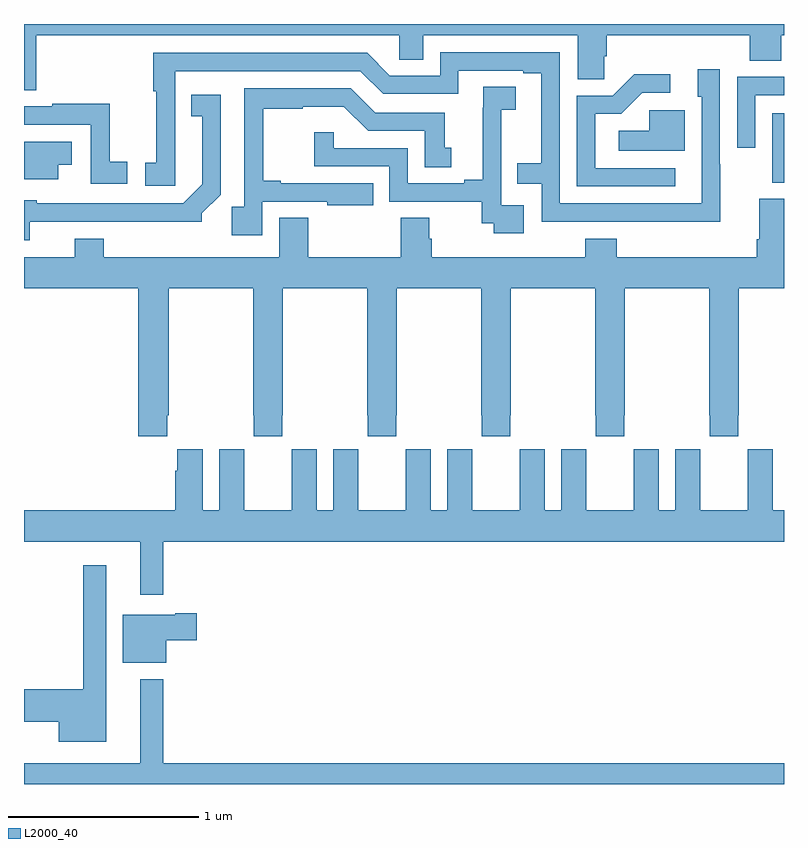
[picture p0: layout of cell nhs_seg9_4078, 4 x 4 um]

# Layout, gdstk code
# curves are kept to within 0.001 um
import gdstk
lib = gdstk.Library(unit=1e-6, precision=1e-09)
def R(c, l, rs):  # rectangles x0, y0, x1, y1
    for r in rs: c.add(gdstk.rectangle(r[:2], r[2:], *l))
def P(c, l, *ps):  # polygons
    for p in ps: c.add(gdstk.Polygon(p, *l))
L2000_40 = (2000, 40)

nhs_seg9_4078 = lib.new_cell('nhs_seg9_4078')
R(nhs_seg9_4078, L2000_40, [(348.938,1175.665,349,1176.031)])
P(nhs_seg9_4078, L2000_40, [(345.065,1176.44),(346.974,1176.44),(346.974,1176.313),(347.101,1176.313),(347.101,1176.44),(347.915,1176.44),(347.915,1176.208),(348.054,1176.208),(348.054,1176.331),(348.068,1176.331),(348.068,1176.44),(348.821,1176.44),(348.821,1176.307),(348.986,1176.307),(348.986,1176.44),(349,1176.44),(349,1176.5),(345,1176.5),(345,1176.151),(345.065,1176.151)],
  [(348.665,1175.762),(348.663,1175.762),(348.663,1176.262),(348.545,1176.262),(348.545,1176.117),(348.567,1176.117),(348.567,1175.556),(347.82,1175.556),(347.82,1176.351),(347.19,1176.351),(347.19,1176.228),(346.926,1176.228),(346.806,1176.348),(345.679,1176.348),(345.679,1176.145),(345.697,1176.145),(345.697,1175.769),(345.639,1175.769),(345.639,1175.649),(345.796,1175.649),(345.795,1176.252),(346.77,1176.252),(346.89,1176.132),(347.286,1176.132),(347.286,1176.255),(347.627,1176.255),(347.627,1176.24),(347.723,1176.24),(347.723,1175.767),(347.596,1175.767),(347.596,1175.658),(347.724,1175.658),(347.724,1175.46),(348.665,1175.459)],
  [(348.427,1175.742),(348.006,1175.742),(348.006,1176.027),(348.144,1176.027),(348.255,1176.138),(348.4,1176.138),(348.4,1176.236),(348.212,1176.236),(348.099,1176.123),(347.91,1176.123),(347.91,1175.646),(348.427,1175.646)],
  [(348.849,1176.126),(349,1176.126),(349,1176.222),(348.753,1176.222),(348.753,1175.85),(348.849,1175.85)],
  [(347.629,1175.547),(347.511,1175.547),(347.511,1175.851),(347.513,1175.851),(347.513,1176.049),(347.587,1176.049),(347.587,1176.17),(347.416,1176.17),(347.416,1176.059),(347.414,1176.059),(347.414,1175.681),(347.318,1175.681),(347.318,1175.661),(347.019,1175.661),(347.019,1175.847),(346.629,1175.847),(346.629,1175.929),(346.528,1175.929),(346.528,1175.751),(346.923,1175.751),(346.923,1175.565),(347.41,1175.565),(347.41,1175.451),(347.473,1175.451),(347.473,1175.4),(347.629,1175.4)],
  [(346.254,1175.565),(346.595,1175.565),(346.595,1175.546),(346.838,1175.546),(346.838,1175.661),(346.351,1175.661),(346.351,1175.674),(346.259,1175.674),(346.259,1176.054),(346.466,1176.054),(346.466,1176.065),(346.684,1176.065),(346.812,1175.937),(347.108,1175.937),(347.108,1175.746),(347.248,1175.746),(347.248,1175.85),(347.215,1175.85),(347.215,1176.033),(346.848,1176.033),(346.719,1176.162),(346.158,1176.162),(346.158,1175.539),(346.093,1175.539),(346.093,1175.388),(346.254,1175.388)],
  [(345.03,1175.46),(345.936,1175.459),(345.936,1175.503),(346.035,1175.602),(346.035,1176.127),(345.88,1176.127),(345.88,1176.014),(345.938,1176.014),(345.938,1175.657),(345.837,1175.556),(345.066,1175.556),(345.066,1175.572),(345,1175.572),(345,1175.361),(345.03,1175.361)],
  [(345.544,1175.774),(345.45,1175.774),(345.45,1176.079),(345.148,1176.079),(345.148,1176.066),(345,1176.066),(345,1175.97),(345.351,1175.97),(345.351,1175.658),(345.544,1175.658)],
  [(348.478,1176.045),(348.291,1176.045),(348.291,1175.938),(348.129,1175.938),(348.129,1175.834),(348.478,1175.834)],
  [(345.181,1175.759),(345.25,1175.759),(345.25,1175.881),(345,1175.881),(345,1175.684),(345.181,1175.684)],
  [(345.755,1174.441),(345.762,1174.441),(345.762,1175.108),(346.207,1175.108),(346.207,1174.441),(346.209,1174.441),(346.209,1174.329),(346.359,1174.329),(346.359,1174.441),(346.362,1174.441),(346.362,1175.108),(346.807,1175.108),(346.807,1174.441),(346.809,1174.441),(346.809,1174.329),(346.959,1174.329),(346.959,1174.441),(346.962,1174.441),(346.962,1175.108),(347.407,1175.108),(347.407,1174.441),(347.409,1174.441),(347.409,1174.329),(347.559,1174.329),(347.559,1174.441),(347.562,1174.441),(347.562,1175.108),(348.007,1175.108),(348.007,1174.441),(348.009,1174.441),(348.009,1174.329),(348.159,1174.329),(348.159,1174.441),(348.162,1174.441),(348.162,1175.108),(348.607,1175.108),(348.607,1174.441),(348.609,1174.441),(348.609,1174.329),(348.759,1174.329),(348.759,1174.441),(348.762,1174.441),(348.762,1175.108),(349,1175.108),(349,1175.58),(348.869,1175.58),(348.869,1175.368),(348.857,1175.368),(348.857,1175.272),(348.119,1175.272),(348.119,1175.371),(347.954,1175.371),(347.954,1175.272),(347.147,1175.272),(347.147,1175.37),(347.134,1175.37),(347.134,1175.48),(346.982,1175.48),(346.982,1175.272),(346.496,1175.272),(346.496,1175.48),(346.343,1175.48),(346.343,1175.272),(345.419,1175.272),(345.419,1175.371),(345.266,1175.371),(345.266,1175.272),(345,1175.272),(345,1175.108),(345.602,1175.108),(345.602,1174.329),(345.755,1174.329)],
  [(345.733,1173.776),(349,1173.776),(349,1173.94),(348.94,1173.94),(348.94,1174.261),(348.81,1174.261),(348.81,1174.148),(348.809,1174.148),(348.809,1173.94),(348.559,1173.94),(348.559,1174.148),(348.558,1174.148),(348.558,1174.261),(348.428,1174.261),(348.428,1173.94),(348.34,1173.94),(348.34,1174.261),(348.21,1174.261),(348.21,1174.148),(348.209,1174.148),(348.209,1173.94),(347.959,1173.94),(347.959,1174.148),(347.958,1174.148),(347.958,1174.261),(347.828,1174.261),(347.828,1173.94),(347.74,1173.94),(347.74,1174.261),(347.61,1174.261),(347.61,1174.148),(347.609,1174.148),(347.609,1173.94),(347.359,1173.94),(347.359,1174.148),(347.358,1174.148),(347.358,1174.261),(347.228,1174.261),(347.228,1173.94),(347.14,1173.94),(347.14,1174.261),(347.01,1174.261),(347.01,1174.148),(347.009,1174.148),(347.009,1173.94),(346.759,1173.94),(346.759,1174.148),(346.758,1174.148),(346.758,1174.261),(346.628,1174.261),(346.628,1173.94),(346.54,1173.94),(346.54,1174.261),(346.41,1174.261),(346.41,1174.148),(346.409,1174.148),(346.409,1173.94),(346.159,1173.94),(346.159,1174.148),(346.158,1174.148),(346.158,1174.261),(346.028,1174.261),(346.028,1173.94),(345.94,1173.94),(345.94,1174.261),(345.806,1174.261),(345.806,1174.148),(345.797,1174.148),(345.797,1173.94),(345,1173.94),(345,1173.776),(345.611,1173.776),(345.611,1173.495),(345.733,1173.495)],
  [(345.433,1173.652),(345.312,1173.652),(345.312,1172.999),(345,1172.999),(345,1172.828),(345.182,1172.828),(345.182,1172.723),(345.433,1172.723)],
  [(345.748,1173.257),(345.91,1173.257),(345.91,1173.399),(345.797,1173.399),(345.797,1173.391),(345.521,1173.391),(345.521,1173.137),(345.748,1173.137)],
  [(349,1172.608),(345.733,1172.608),(345.733,1173.052),(345.611,1173.052),(345.611,1172.608),(345,1172.608),(345,1172.5),(349,1172.5)])

lib.write_gds('nhs_seg9_4078.gds')
